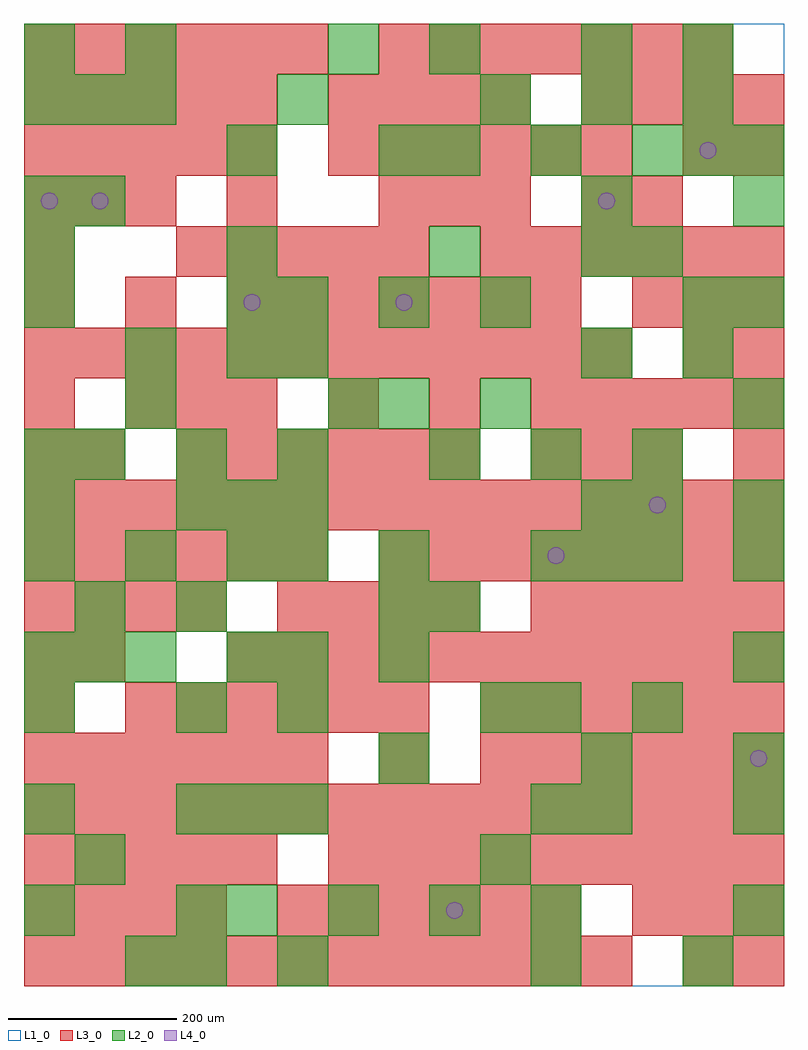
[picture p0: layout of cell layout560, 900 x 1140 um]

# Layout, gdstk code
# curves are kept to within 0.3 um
import gdstk
lib = gdstk.Library(unit=1e-6, precision=1e-09)
def R(c, l, rs):  # rectangles x0, y0, x1, y1
    for r in rs: c.add(gdstk.rectangle(r[:2], r[2:], *l))
def A(c, l, x, y, w, h, nx, ny, dx, dy):  # array of equal rectangles
    R(c, l, [(x+i*dx, y+j*dy, x+i*dx+w, y+j*dy+h) for i in range(nx) for j in range(ny)])
def P(c, l, *ps):  # polygons
    for p in ps: c.add(gdstk.Polygon(p, *l))
L1_0 = (1, 0)
L2_0 = (2, 0)
L3_0 = (3, 0)
L4_0 = (4, 0)

layout560 = lib.new_cell('layout560')
R(layout560, L1_0, [(0,0,900,1140)])
A(layout560, L2_0, 0, 60, 60, 60, 1, 3, 0, 120)
A(layout560, L2_0, 240, 60, 60, 60, 4, 1, 120, 0)
A(layout560, L2_0, 180, 180, 60, 60, 3, 2, 60, 360)
A(layout560, L2_0, 840, 240, 60, 60, 1, 3, 0, 120)
A(layout560, L2_0, 0, 360, 60, 60, 3, 2, 60, 660)
A(layout560, L2_0, 420, 360, 60, 60, 1, 3, 0, 60)
A(layout560, L2_0, 0, 480, 60, 60, 3, 1, 120, 0)
A(layout560, L2_0, 600, 480, 60, 60, 3, 1, 60, 0)
A(layout560, L2_0, 840, 540, 60, 60, 1, 4, 0, 120)
A(layout560, L2_0, 60, 600, 60, 60, 3, 1, 120, 0)
A(layout560, L2_0, 480, 600, 60, 60, 3, 2, 120, 360)
A(layout560, L2_0, 300, 780, 60, 60, 3, 1, 120, 0)
A(layout560, L2_0, 0, 840, 60, 60, 3, 1, 240, 0)
A(layout560, L2_0, 540, 1020, 60, 60, 3, 1, 120, 0)
R(layout560, L2_0, [(120,0,180,60), (180,0,240,60), (300,0,360,60), (600,0,660,60), (780,0,840,60), (180,60,240,120), (840,60,900,120), (60,120,120,180), (540,120,600,180), (600,180,660,240), (660,180,720,240), (840,180,900,240), (420,240,480,300), (660,240,720,300), (180,300,240,360), (300,300,360,360), (540,300,600,360), (600,300,660,360), (720,300,780,360), (240,360,300,420), (300,360,360,420), (60,420,120,480), (180,420,240,480), (480,420,540,480), (300,480,360,540), (0,540,60,600), (660,540,720,600), (720,540,780,600), (0,600,60,660), (120,660,180,720), (360,660,420,720), (420,660,480,720), (540,660,600,720), (120,720,180,780), (240,720,300,780), (300,720,360,780), (660,720,720,780), (780,720,840,780), (0,780,60,840), (240,780,300,840), (780,780,840,840), (660,840,720,900), (720,840,780,900), (0,900,60,960), (60,900,120,960), (660,900,720,960), (240,960,300,1020), (420,960,480,1020), (780,960,840,1020), (840,960,900,1020), (300,1020,360,1080), (0,1080,60,1140), (120,1080,180,1140), (360,1080,420,1140), (480,1080,540,1140), (660,1080,720,1140), (780,1080,840,1140)])
A(layout560, L3_0, 0, 0, 60, 60, 12, 2, 60, 720)
A(layout560, L3_0, 0, 60, 60, 60, 4, 2, 60, 360)
A(layout560, L3_0, 300, 60, 60, 60, 6, 2, 60, 720)
A(layout560, L3_0, 720, 60, 60, 60, 3, 2, 60, 720)
A(layout560, L3_0, 0, 120, 60, 60, 5, 2, 60, 840)
A(layout560, L3_0, 360, 120, 60, 60, 9, 1, 60, 0)
A(layout560, L3_0, 0, 180, 60, 60, 15, 2, 60, 360)
A(layout560, L3_0, 0, 240, 60, 60, 6, 2, 60, 240)
A(layout560, L3_0, 540, 240, 60, 60, 6, 2, 60, 60)
A(layout560, L3_0, 120, 300, 60, 60, 6, 1, 60, 0)
A(layout560, L3_0, 240, 360, 60, 60, 11, 1, 60, 0)
A(layout560, L3_0, 300, 420, 60, 60, 4, 1, 60, 0)
A(layout560, L3_0, 600, 420, 60, 60, 5, 1, 60, 0)
A(layout560, L3_0, 420, 480, 60, 60, 8, 1, 60, 0)
A(layout560, L3_0, 180, 600, 60, 60, 6, 1, 60, 0)
A(layout560, L3_0, 600, 600, 60, 60, 3, 1, 60, 0)
A(layout560, L3_0, 120, 660, 60, 60, 3, 1, 60, 0)
A(layout560, L3_0, 360, 660, 60, 60, 3, 1, 120, 0)
A(layout560, L3_0, 660, 660, 60, 60, 4, 2, 60, 360)
A(layout560, L3_0, 0, 780, 60, 60, 3, 1, 120, 0)
A(layout560, L3_0, 180, 840, 60, 60, 5, 1, 60, 0)
A(layout560, L3_0, 540, 840, 60, 60, 6, 1, 60, 0)
A(layout560, L3_0, 0, 900, 60, 60, 3, 1, 60, 0)
A(layout560, L3_0, 420, 900, 60, 60, 3, 1, 60, 0)
A(layout560, L3_0, 360, 960, 60, 60, 6, 1, 60, 0)
A(layout560, L3_0, 0, 1020, 60, 60, 5, 1, 60, 0)
A(layout560, L3_0, 360, 1020, 60, 60, 4, 1, 60, 0)
A(layout560, L3_0, 0, 1080, 60, 60, 6, 1, 60, 0)
A(layout560, L3_0, 420, 1080, 60, 60, 7, 1, 60, 0)
R(layout560, L3_0, [(780,0,840,60), (840,0,900,60), (420,240,480,300), (0,300,60,360), (0,360,60,420), (60,360,120,420), (0,600,60,660), (60,600,120,660), (840,600,900,660), (0,660,60,720), (780,720,840,780), (840,720,900,780), (0,840,60,900), (240,900,300,960), (660,900,720,960), (720,900,780,960), (780,960,840,1020), (840,960,900,1020)])
P(layout560, L4_0, [(40,930),(39.239,933.827),(37.071,937.071),(33.827,939.239),(30,940),(26.173,939.239),(22.929,937.071),(20.761,933.827),(20,930),(20.761,926.173),(22.929,922.929),(26.173,920.761),(30,920),(33.827,920.761),(37.071,922.929),(39.239,926.173)],
  [(100,930),(99.239,933.827),(97.071,937.071),(93.827,939.239),(90,940),(86.173,939.239),(82.929,937.071),(80.761,933.827),(80,930),(80.761,926.173),(82.929,922.929),(86.173,920.761),(90,920),(93.827,920.761),(97.071,922.929),(99.239,926.173)],
  [(280,810),(279.239,813.827),(277.071,817.071),(273.827,819.239),(270,820),(266.173,819.239),(262.929,817.071),(260.761,813.827),(260,810),(260.761,806.173),(262.929,802.929),(266.173,800.761),(270,800),(273.827,800.761),(277.071,802.929),(279.239,806.173)],
  [(460,810),(459.239,813.827),(457.071,817.071),(453.827,819.239),(450,820),(446.173,819.239),(442.929,817.071),(440.761,813.827),(440,810),(440.761,806.173),(442.929,802.929),(446.173,800.761),(450,800),(453.827,800.761),(457.071,802.929),(459.239,806.173)],
  [(520,90),(519.239,93.827),(517.071,97.071),(513.827,99.239),(510,100),(506.173,99.239),(502.929,97.071),(500.761,93.827),(500,90),(500.761,86.173),(502.929,82.929),(506.173,80.761),(510,80),(513.827,80.761),(517.071,82.929),(519.239,86.173)],
  [(640,510),(639.239,513.827),(637.071,517.071),(633.827,519.239),(630,520),(626.173,519.239),(622.929,517.071),(620.761,513.827),(620,510),(620.761,506.173),(622.929,502.929),(626.173,500.761),(630,500),(633.827,500.761),(637.071,502.929),(639.239,506.173)],
  [(700,930),(699.239,933.827),(697.071,937.071),(693.827,939.239),(690,940),(686.173,939.239),(682.929,937.071),(680.761,933.827),(680,930),(680.761,926.173),(682.929,922.929),(686.173,920.761),(690,920),(693.827,920.761),(697.071,922.929),(699.239,926.173)],
  [(760,570),(759.239,573.827),(757.071,577.071),(753.827,579.239),(750,580),(746.173,579.239),(742.929,577.071),(740.761,573.827),(740,570),(740.761,566.173),(742.929,562.929),(746.173,560.761),(750,560),(753.827,560.761),(757.071,562.929),(759.239,566.173)],
  [(820,990),(819.239,993.827),(817.071,997.071),(813.827,999.239),(810,1000),(806.173,999.239),(802.929,997.071),(800.761,993.827),(800,990),(800.761,986.173),(802.929,982.929),(806.173,980.761),(810,980),(813.827,980.761),(817.071,982.929),(819.239,986.173)],
  [(880,270),(879.239,273.827),(877.071,277.071),(873.827,279.239),(870,280),(866.173,279.239),(862.929,277.071),(860.761,273.827),(860,270),(860.761,266.173),(862.929,262.929),(866.173,260.761),(870,260),(873.827,260.761),(877.071,262.929),(879.239,266.173)])

lib.write_gds('layout560.gds')
